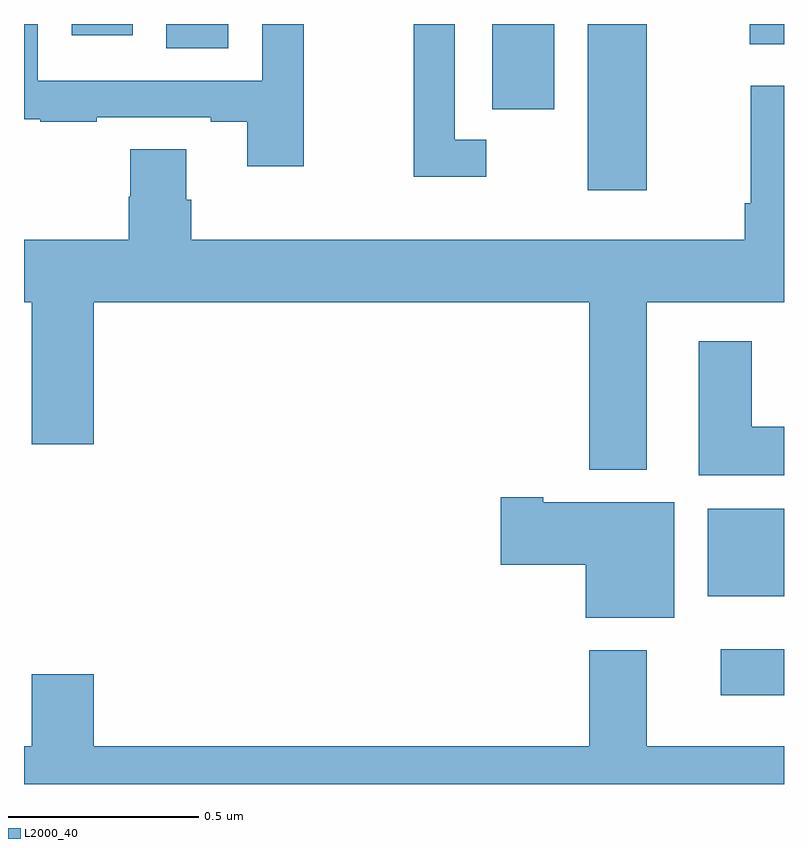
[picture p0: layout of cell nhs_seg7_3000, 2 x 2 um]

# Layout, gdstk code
import gdstk
lib = gdstk.Library(unit=1e-6, precision=1e-09)
def R(c, l, rs):  # rectangles x0, y0, x1, y1
    for r in rs: c.add(gdstk.rectangle(r[:2], r[2:], *l))
def P(c, l, *ps):  # polygons
    for p in ps: c.add(gdstk.Polygon(p, *l))
L2000_40 = (2000, 40)

nhs_seg7_3000 = lib.new_cell('nhs_seg7_3000')
R(nhs_seg7_3000, L2000_40, [(154.833,1014.233,155,1014.355), (154.799,1014.494,155,1014.724), (154.484,1015.563,154.639,1016), (154.232,1015.776,154.396,1016), (153.374,1015.936,153.538,1016), (154.91,1015.947,155,1016), (153.125,1015.971,153.286,1016)])
P(nhs_seg7_3000, L2000_40, [(153.736,1016),(153.627,1016),(153.627,1015.851),(153.036,1015.851),(153.036,1016),(153,1016),(153,1015.749),(153.043,1015.749),(153.043,1015.743),(153.191,1015.743),(153.191,1015.755),(153.491,1015.755),(153.491,1015.743),(153.587,1015.743),(153.587,1015.626),(153.736,1015.626)],
  [(154.216,1015.695),(154.134,1015.695),(154.134,1016),(154.026,1016),(154.026,1015.598),(154.216,1015.598)],
  [(154.639,1015.268),(155,1015.268),(155,1015.837),(154.912,1015.837),(154.912,1015.528),(154.897,1015.528),(154.897,1015.432),(153.44,1015.432),(153.44,1015.538),(153.427,1015.538),(153.427,1015.67),(153.28,1015.67),(153.28,1015.545),(153.275,1015.545),(153.275,1015.432),(153,1015.432),(153,1015.268),(153.02,1015.268),(153.02,1014.894),(153.184,1014.894),(153.184,1015.268),(154.487,1015.268),(154.487,1014.827),(154.639,1014.827)],
  [(155,1014.94),(154.915,1014.94),(154.915,1015.165),(154.775,1015.165),(154.775,1014.812),(155,1014.812)],
  [(154.711,1014.742),(154.366,1014.742),(154.366,1014.755),(154.254,1014.755),(154.254,1014.577),(154.478,1014.577),(154.478,1014.437),(154.711,1014.437)],
  [(155,1014.1),(154.639,1014.1),(154.639,1014.352),(154.487,1014.352),(154.487,1014.1),(153.184,1014.1),(153.184,1014.289),(153.02,1014.289),(153.02,1014.1),(153,1014.1),(153,1014),(155,1014)])

lib.write_gds('nhs_seg7_3000.gds')
